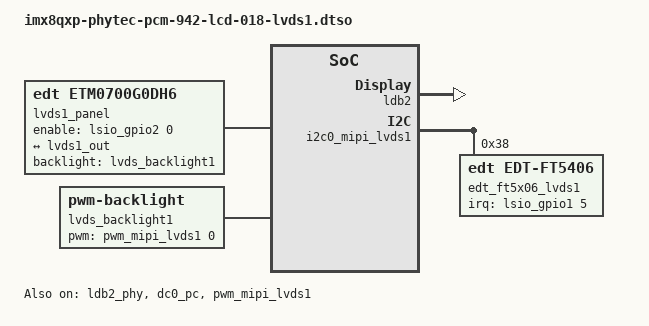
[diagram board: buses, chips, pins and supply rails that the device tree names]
// SPDX-License-Identifier: GPL-2.0+
/*
 * Copyright (C) 2019-2021 PHYTEC America, LLC
 *
 * Enable LCD-018 LVDS displays on PCM-942
 */

/dts-v1/;
/plugin/;

#include <dt-bindings/pinctrl/pads-imx8qxp.h>
#include <dt-bindings/interrupt-controller/irq.h>
#include <dt-bindings/gpio/gpio.h>

&{/} {
	compatible = "phytec,imx8qxp-pcm-942", "phytec,imx8qxp-phycore-som", "fsl,imx8qxp";

	lvds1_panel {
		compatible = "edt,etm0700g0dh6";
		pinctrl-names = "default";
		pinctrl-0 = <&pinctrl_lvds1>;
		enable = <&lsio_gpio2 0 GPIO_ACTIVE_HIGH>;
		backlight = <&lvds_backlight1>;

		port {
			panel_lvds1_in: endpoint {
				remote-endpoint = <&lvds1_out>;
			};
		};
	};

	lvds_backlight1: lvds_backlight@1 {
		compatible = "pwm-backlight";
		pwms = <&pwm_mipi_lvds1 0 100000 0>;

		brightness-levels = < 0  1  2  3  4  5	6  7  8  9
						10 11 12 13 14 15 16 17 18 19
						20 21 22 23 24 25 26 27 28 29
						30 31 32 33 34 35 36 37 38 39
						40 41 42 43 44 45 46 47 48 49
						50 51 52 53 54 55 56 57 58 59
						60 61 62 63 64 65 66 67 68 69
						70 71 72 73 74 75 76 77 78 79
						80 81 82 83 84 85 86 87 88 89
						90 91 92 93 94 95 96 97 98 99
					100>;
		default-brightness-level = <80>;
	};
};

&ldb2_phy {
	status = "okay";
};

&ldb2 {
	status = "okay";

	lvds-channel@0 {
		fsl,data-mapping = "jeida";
		fsl,data-width = <24>;
		status = "okay";

		port@1 {
			reg = <1>;

			lvds1_out: endpoint {
				remote-endpoint = <&panel_lvds1_in>;
			};
		};
	};
};

&dc0_pc {	/* Pixel combiner */
	status = "okay";
};

&pwm_mipi_lvds1 {
	pinctrl-names = "default";
	pinctrl-0 = <&pinctrl_pwm_mipi_lvds1>;
	status = "okay";
};

&i2c0_mipi_lvds1 {
	#address-cells = <1>;
	#size-cells = <0>;
	status = "okay";

	edt_ft5x06_lvds1: polytouch_1@38 {
		compatible = "edt,edt-ft5406", "edt,edt-ft5x06";
		pinctrl-names = "default";
		pinctrl-0 = <&pinctrl_edt_ft5x06_lvds1>;
		reg = <0x38>;
		interrupt-parent = <&lsio_gpio1>;
		interrupts = <5 IRQ_TYPE_LEVEL_LOW>;
		status = "okay";
	};
};

&iomuxc {
	pcm942 {

		pinctrl_edt_ft5x06_lvds1: edt_ft5x06grp_lvds1 {
			fsl,pins = <
				IMX8QXP_SPI0_SDI_LSIO_GPIO1_IO05	0x06000021
			>;
		};

		pinctrl_pwm_mipi_lvds1: mipi_lvds1_pwm_grp {
			fsl,pins = <
				IMX8QXP_MIPI_DSI1_GPIO0_00_MIPI_DSI1_PWM0_OUT	0x00000020
			>;
		};
	};
};
